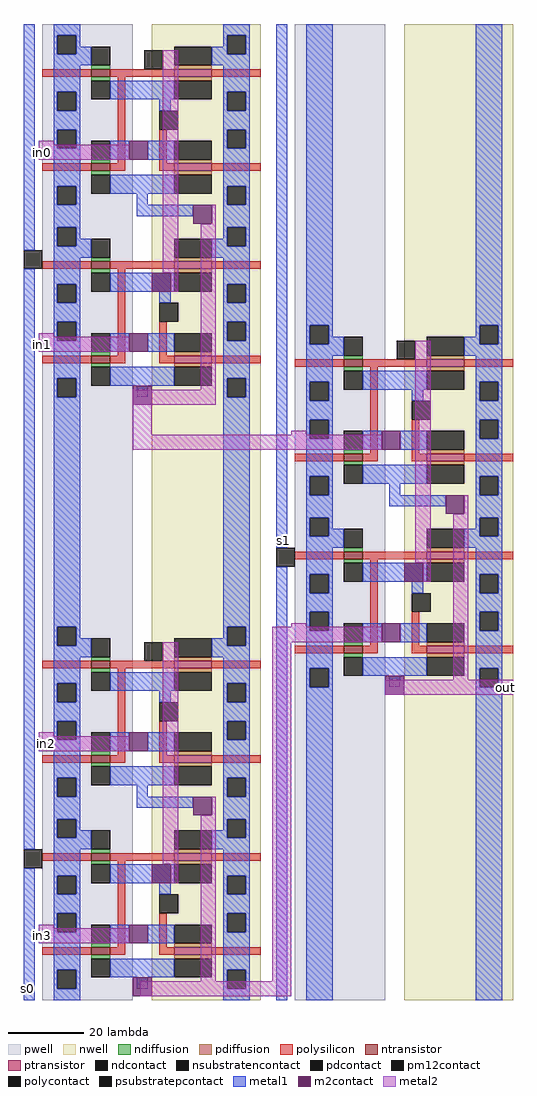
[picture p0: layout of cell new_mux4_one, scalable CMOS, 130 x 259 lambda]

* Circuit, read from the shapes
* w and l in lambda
.subckt new_mux4_one GND! Vdd! in0 in1 in2 in3 out s0 s1
M1 in3 s0 mux2_one_0/b GND! nfet w=5 l=2
M2 GND! s0 mux2_one_1/tg_0/EN GND! nfet w=5 l=2
M3 in2 mux2_one_1/tg_0/EN mux2_one_0/b GND! nfet w=5 l=2
M4 GND! mux2_one_1/tg_0/EN n1 GND! nfet w=5 l=2
M5 in1 s0 mux2_one_0/a GND! nfet w=5 l=2
M6 GND! s0 mux2_one_2/tg_0/EN GND! nfet w=5 l=2
M7 in0 mux2_one_2/tg_0/EN mux2_one_0/a GND! nfet w=5 l=2
M8 GND! mux2_one_2/tg_0/EN n2 GND! nfet w=5 l=2
M9 mux2_one_0/b s1 out GND! nfet w=5 l=2
M10 GND! s1 mux2_one_0/tg_0/EN GND! nfet w=5 l=2
M11 mux2_one_0/a mux2_one_0/tg_0/EN out GND! nfet w=5 l=2
M12 GND! mux2_one_0/tg_0/EN n3 GND! nfet w=5 l=2
M13 in3 mux2_one_1/tg_0/EN mux2_one_0/b Vdd! pfet w=10 l=2
M14 Vdd! s0 mux2_one_1/tg_0/EN Vdd! pfet w=10 l=2
M15 in2 n1 mux2_one_0/b Vdd! pfet w=10 l=2
M16 Vdd! mux2_one_1/tg_0/EN n1 Vdd! pfet w=10 l=2
M17 in1 mux2_one_2/tg_0/EN mux2_one_0/a Vdd! pfet w=10 l=2
M18 Vdd! s0 mux2_one_2/tg_0/EN Vdd! pfet w=10 l=2
M19 in0 n2 mux2_one_0/a Vdd! pfet w=10 l=2
M20 Vdd! mux2_one_2/tg_0/EN n2 Vdd! pfet w=10 l=2
M21 mux2_one_0/b mux2_one_0/tg_0/EN out Vdd! pfet w=10 l=2
M22 Vdd! s1 mux2_one_0/tg_0/EN Vdd! pfet w=10 l=2
M23 mux2_one_0/a n3 out Vdd! pfet w=10 l=2
M24 Vdd! mux2_one_0/tg_0/EN n3 Vdd! pfet w=10 l=2
.ends

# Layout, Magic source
magic
tech scmos
<< nwell >>
rect 190 76 219 153
rect 123 -5 152 51
rect 190 -106 219 -26
<< pwell >>
rect 161 76 185 153
rect 94 -5 118 51
rect 161 -106 185 -26
<< polycontact >>
rect 89 88 94 93
rect 156 9 161 14
rect 89 -71 94 -66
<< metal1 >>
rect 89 93 92 153
rect 89 -66 92 88
rect 97 -5 104 51
rect 142 -5 149 51
rect 156 14 159 153
rect 164 76 171 153
rect 209 76 216 153
rect 89 -106 92 -71
rect 156 -106 159 9
rect 164 -106 171 -26
rect 209 -106 216 -26
<< metal2 >>
rect 93 117 98 121
rect 93 67 95 69
rect 118 44 123 56
rect 118 40 171 44
rect 94 -39 96 -37
rect 93 -90 95 -88
rect 155 -101 160 -7
rect 185 -25 219 -21
rect 120 -105 160 -101
use mux2_one  mux2_one_0
transform 1 0 161 0 1 25
box -1 -51 58 51
use mux2_one  mux2_one_2
transform 1 0 94 0 1 102
box -1 -51 58 51
use mux2_one  mux2_one_1
transform 1 0 94 0 1 -55
box -1 -51 58 51
<< labels >>
rlabel metal2 217 -23 217 -23 1 out
rlabel metal1 158 16 158 16 1 s1
rlabel metal1 90 -103 90 -103 1 s0
rlabel metal2 94 119 94 119 1 in0
rlabel metal2 94 68 94 68 1 in1
rlabel metal2 95 -38 95 -38 1 in2
rlabel metal2 94 -89 94 -89 1 in3
<< end >>

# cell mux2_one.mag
magic
tech scmos
<< polysilicon >>
rect 0 -14 4 -12
<< metal1 >>
rect 3 49 10 51
rect 48 50 55 51
rect 25 0 40 3
<< m2contact >>
rect 40 -2 45 3
rect 29 -20 34 -15
rect 24 -50 29 -45
<< pm12contact >>
rect 27 39 32 44
<< metal2 >>
rect 0 16 7 19
rect 32 -15 36 44
rect 45 -2 46 3
rect 34 -20 36 -15
rect 0 -35 7 -32
rect 42 -46 46 -2
rect 29 -50 46 -46
use tg  tg_0
transform 1 0 -87 0 1 -43
box 86 43 145 94
use tg  tg_1
transform 1 0 -87 0 1 -94
box 86 43 145 94
<< labels >>
rlabel metal2 2 16 2 19 3 a
rlabel metal2 2 -35 2 -32 3 b
rlabel polysilicon 2 -13 2 -13 3 sel
rlabel metal2 31 -48 31 -48 1 out
<< end >>

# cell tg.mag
magic
tech scmos
<< nwell >>
rect 116 43 145 94
<< pwell >>
rect 87 43 111 94
<< ntransistor >>
rect 100 80 105 82
rect 100 55 105 57
<< ptransistor >>
rect 122 80 132 82
rect 122 55 132 57
<< ndiffusion >>
rect 100 82 105 83
rect 100 79 105 80
rect 100 57 105 58
rect 100 54 105 55
<< pdiffusion >>
rect 122 82 132 83
rect 122 79 132 80
rect 122 57 132 58
rect 122 54 132 55
<< ndcontact >>
rect 100 83 105 88
rect 100 74 105 79
rect 100 58 105 63
rect 100 49 105 54
<< pdcontact >>
rect 122 83 132 88
rect 122 74 132 79
rect 122 58 132 63
rect 122 49 132 54
<< psubstratepcontact >>
rect 91 86 96 91
rect 91 71 96 76
rect 91 61 96 66
rect 91 46 96 51
<< nsubstratencontact >>
rect 136 86 141 91
rect 136 71 141 76
rect 136 61 141 66
rect 136 46 141 51
<< polysilicon >>
rect 87 80 100 82
rect 105 80 122 82
rect 132 80 145 82
rect 107 57 109 80
rect 87 55 100 57
rect 105 55 109 57
rect 118 57 120 66
rect 118 55 122 57
rect 132 55 145 57
<< polycontact >>
rect 118 66 123 71
<< metal1 >>
rect 90 91 97 94
rect 90 86 91 91
rect 96 88 97 91
rect 135 91 142 94
rect 135 88 136 91
rect 96 86 100 88
rect 90 83 100 86
rect 132 86 136 88
rect 141 86 142 91
rect 132 83 142 86
rect 90 76 97 83
rect 90 71 91 76
rect 96 71 97 76
rect 105 74 122 79
rect 135 76 142 83
rect 90 66 97 71
rect 118 71 121 74
rect 135 71 136 76
rect 141 71 142 76
rect 135 66 142 71
rect 90 61 91 66
rect 96 61 97 66
rect 90 51 97 61
rect 105 58 110 63
rect 115 58 122 63
rect 135 61 136 66
rect 141 61 142 66
rect 90 46 91 51
rect 96 46 97 51
rect 105 49 122 54
rect 135 51 142 61
rect 112 46 115 49
rect 135 46 136 51
rect 141 46 142 51
rect 90 43 97 46
rect 135 43 142 46
<< m2contact >>
rect 110 58 115 63
<< metal2 >>
rect 86 62 90 63
rect 86 58 110 62
<< labels >>
rlabel metal1 112 47 115 47 1 out
rlabel metal1 136 44 141 44 1 Vdd!
rlabel polysilicon 88 80 88 82 3 EN
rlabel metal1 136 92 141 92 5 Vdd!
rlabel metal1 91 92 96 92 5 GND!
rlabel metal1 91 44 96 44 1 GND!
<< end >>
